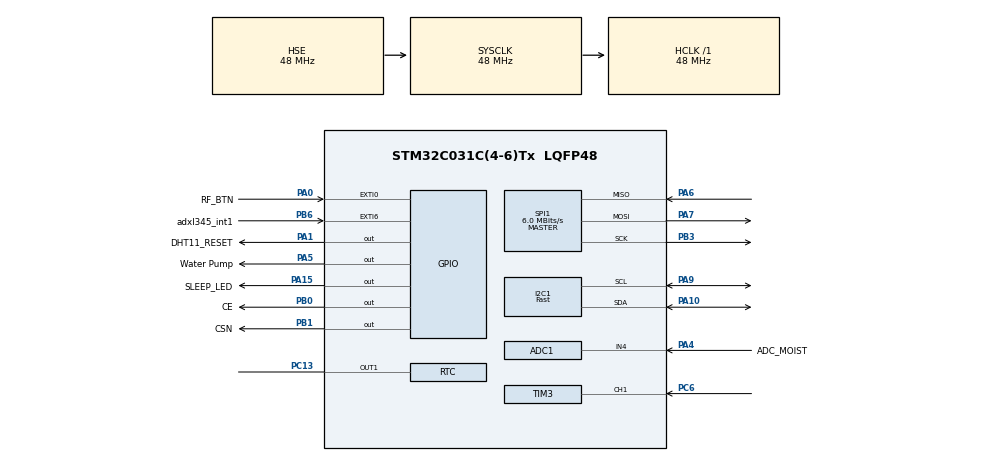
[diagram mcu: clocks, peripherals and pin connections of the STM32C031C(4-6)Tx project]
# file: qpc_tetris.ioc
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ADC1.NbrOfConversionFlag=0
ADC1.SelectedChannel=ADC_CHANNEL_4
ADC1.master=1
I2C1.I2C_Speed_Mode=I2C_Fast
I2C1.Timing=0x0090194B
Mcu.Family=STM32C0
Mcu.Name=STM32C031C(4-6)Tx
Mcu.Package=LQFP48
NVIC.EXTI0_1_IRQn=true\:0\:0\:false\:false\:false\:true\:true\:false
NVIC.EXTI4_15_IRQn=true\:0\:0\:false\:false\:false\:true\:true\:false
NVIC.RTC_IRQn=true\:0\:0\:false\:false\:false\:true\:true\:false
NVIC.SPI1_IRQn=true\:0\:0\:false\:false\:false\:true\:true\:false
PA0.GPIO_Label=RF_BTN
PA0.GPIO_ModeDefaultEXTI=GPIO_MODE_IT_FALLING
PA0.GPIO_PuPd=GPIO_NOPULL
PA0.Signal=GPXTI0
PA1.GPIO_Label=DHT11_RESET
PA1.GPIO_ModeDefaultOutputPP=GPIO_MODE_OUTPUT_PP
PA1.GPIO_PuPd=GPIO_NOPULL
PA1.Signal=GPIO_Output
PA10.Mode=I2C
PA10.Signal=I2C1_SDA
PA13.GPIO_Label=DEBUG_SWDIO
PA13.Signal=DEBUG_SWDIO
PA14-BOOT0.GPIO_Label=DEBUG_SWCLK
PA14-BOOT0.Signal=DEBUG_SWCLK
PA15.GPIO_Label=SLEEP_LED
PA15.Signal=GPIO_Output
PA2.GPIO_Label=VCP_USART2_TX
PA2.Signal=USART2_TX
PA3.GPIO_Label=VCP_USART2_RX
PA3.Signal=USART2_RX
PA4.GPIO_Label=ADC_MOIST
PA4.Mode=IN4
PA4.Signal=ADC1_IN4
PA5.GPIO_Label=Water Pump
PA5.GPIO_ModeDefaultOutputPP=GPIO_MODE_OUTPUT_PP
PA5.Signal=GPIO_Output
PA6.Mode=Full_Duplex_Master
PA6.Signal=SPI1_MISO
PA7.Mode=Full_Duplex_Master
PA7.Signal=SPI1_MOSI
PA9.Mode=I2C
PA9.Signal=I2C1_SCL
PB0.GPIO_Label=CE
PB0.GPIO_Speed=GPIO_SPEED_FREQ_HIGH
PB0.Signal=GPIO_Output
PB1.GPIO_Label=CSN
PB1.GPIO_Speed=GPIO_SPEED_FREQ_HIGH
PB1.Signal=GPIO_Output
PB3.Mode=Full_Duplex_Master
PB3.Signal=SPI1_SCK
PB6.GPIO_Label=adxl345_int1
PB6.Signal=GPXTI6
PC13.Mode=Calibration_512Hz
PC13.Signal=RTC_OUT1
PC14-OSCX_IN\ (PC14).GPIO_Label=RCC_OSCX_IN
PC14-OSCX_IN\ (PC14).Mode=LSE-External-Oscillator
PC14-OSCX_IN\ (PC14).Signal=RCC_OSCX_IN
PC15-OSCX_OUT\ (PC15).GPIO_Label=RCC_OSCX_OUT
PC15-OSCX_OUT\ (PC15).Mode=LSE-External-Oscillator
PC15-OSCX_OUT\ (PC15).Signal=RCC_OSCX_OUT
PC6.Signal=S_TIM3_CH1
PF0-OSC_IN\ (PF0).GPIO_Label=RCC_OSC_IN
PF0-OSC_IN\ (PF0).Mode=HSE-External-Oscillator
PF0-OSC_IN\ (PF0).Signal=RCC_OSC_IN
PF1-OSC_OUT\ (PF1).GPIO_Label=RCC_OSC_OUT
PF1-OSC_OUT\ (PF1).Mode=HSE-External-Oscillator
PF1-OSC_OUT\ (PF1).Signal=RCC_OSC_OUT
ProjectManager.HeapSize=0x200
ProjectManager.StackSize=0x400
ProjectManager.TargetToolchain=STM32CubeIDE
QuantumLeaps.qpc.8.1.1.qpcCcRTEFJjEventOoProcessor=qep
QuantumLeaps.qpc.8.1.1.qpcCcRTEFJjFramework=qf
QuantumLeaps.qpc.8.1.1.qpcCcRTEFJjRealAaTimeOoKernel=qk
QuantumLeaps.qpc.8.1.1.qpcCcRTEFJjSoftwareOotracing=qs
RCC.ADCFreq_Value=48000000
RCC.AHBFreq_Value=48000000
RCC.CortexFreq_Value=48000000
RCC.EXTERNAL_CLOCK_VALUE=12288000
RCC.HCLKFreq_Value=48000000
RCC.HSE_VALUE=48000000
RCC.HSISYSCLKDivider=RCC_HSI_DIV1
RCC.HSI_VALUE=48000000
RCC.SYSCLKFreq_VALUE=48000000
RCC.SYSCLKSource=RCC_SYSCLKSOURCE_HSE
RTC.Alarm-Alarm\ A=RTC_ALARM_A
SH.S_TIM3_CH1.0=TIM3_CH1,Input_Capture1_from_TI1
SH.S_TIM3_CH1.1=TIM3_CH1,TriggerSource_TI1FP1
SPI1.BaudRatePrescaler=SPI_BAUDRATEPRESCALER_8
SPI1.CalculateBaudRate=6.0 MBits/s
SPI1.Direction=SPI_DIRECTION_2LINES
SPI1.Mode=SPI_MODE_MASTER
SPI1.VirtualType=VM_MASTER
TIM17.Prescaler=47
TIM3.Channel-Input_Capture1_from_TI1=TIM_CHANNEL_1
TIM3.ICPolarity_CH1=TIM_INPUTCHANNELPOLARITY_BOTHEDGE
TIM3.Prescaler=47
VP_QuantumLeaps.qpc_VS_RTEFJjqpc_8.1.1_8.1.1.Mode=RTEFJjqpc
VP_RTC_VS_RTC_Activate.Mode=RTC_Enabled
VP_RTC_VS_RTC_Alarm_A_Intern.Mode=Alarm A
VP_RTC_VS_RTC_Calendar.Mode=RTC_Calendar
VP_TIM17_VS_ClockSourceINT.Mode=Enable_Timer
VP_TIM3_VS_ClockSourceINT.Mode=Internal
VP_TIM3_VS_ControllerModeReset.Mode=Reset Mode
board=NUCLEO-C031C6

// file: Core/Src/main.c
/* USER CODE BEGIN Header */
/**
  ******************************************************************************
  * @file           : main.c
  * @brief          : Main program body
  ******************************************************************************
  * @attention
  *
  * Copyright (c) 2025 STMicroelectronics.
  * All rights reserved.
  *
  * This software is licensed under terms that can be found in the LICENSE file
  * in the root directory of this software component.
  * If no LICENSE file comes with this software, it is provided AS-IS.
  *
  ******************************************************************************
  */
/* USER CODE END Header */
#include "main.h"

/* USER CODE BEGIN Includes */
#include "qpc.h"
#include "bsp.h"
#include "main_app.h"
#include "sensor.h"
#include "temp_sensor.h"
#include "rfbutton.h"
#include "accelerometer.h"
#include "app_config.h"
#include <stdarg.h>
/* USER CODE END Includes */

/* USER CODE BEGIN PTD */
#include <stdio.h>

// Redirect fputc used by printf
int fputc(int ch, FILE *f) {
    (void)f;
    return ch;   // or return 0; if you want *no output*
}

// Redirect __io_putchar used by HAL
int __io_putchar(int ch) {
    return ch;   // or return 0;
}
/* USER CODE END PTD */

/* USER CODE BEGIN PD */
#if !defined(Q_ALIGN)
  #if defined(__GNUC__) || defined(__clang__)
    #define Q_ALIGN __attribute__((aligned(4)))
  #elif defined(_MSC_VER)
    #define Q_ALIGN __declspec(align(4))
  #else
    #define Q_ALIGN
  #endif
#endif

#define PRINTF_BUFFER_SIZE 256

/* USER CODE END PD */

I2C_HandleTypeDef hi2c1;

void SystemClock_Config(void);
static void MX_GPIO_Init(void);
static void MX_I2C1_Init(void);
static void MX_ADC1_Init(void);
static void MX_SPI1_Init(void);
static void MX_TIM17_Init(void);
static void MX_TIM3_Init(void);
static void MX_RTC_Init(void);

/* USER CODE BEGIN 0 */
static QEvt const *menuGameQueueSto[30]; // Storage for event queue
extern MainApp MainApp_inst; // Storage for the AO instance

static QEvt const *sensorQueueSto[16]; // Storage for event queue
extern Sensor Sensor_inst; // Storage for the AO instance

static QEvt const *rfbuttonQueueSto[5]; // Storage for event queue
extern RFButton RFButton_inst; // Storage for the AO instance

// Allocate pool for SensorEvent
Q_ALIGN static QF_MPOOL_EL(SensorEvent) sensorEvtPoolSto[4];
//Q_ALIGN static QF_MPOOL_EL(DHT11Evt) dhtEvtPoolSto[4];

char printf_buffer[PRINTF_BUFFER_SIZE];
static volatile uint16_t printf_head = 0;
static volatile uint16_t printf_tail = 0;
/* USER CODE END 0 */

int main(void)
{

  /* MCU Configuration--------------------------------------------------------*/

  /* Reset of all peripherals, Initializes the Flash interface and the Systick. */
  HAL_Init();

  /* Configure the system clock */
  SystemClock_Config();

  /* Initialize all configured peripherals */
  MX_GPIO_Init();
  MX_I2C1_Init();
  MX_ADC1_Init();
  MX_SPI1_Init();
  MX_TIM17_Init();
  MX_TIM3_Init();
  MX_RTC_Init();
  /* USER CODE BEGIN 2 */
  QF_init();       // initialize the framework and the underlying RT kernel
  BSP_init();      // initialize the BSP

  /* USER CODE END 2 */

  /* Infinite loop */
  /* USER CODE BEGIN WHILE */

  QF_poolInit(sensorEvtPoolSto, sizeof(sensorEvtPoolSto), sizeof(sensorEvtPoolSto[0]));
  //QF_poolInit(dhtEvtPoolSto,sizeof(dhtEvtPoolSto),sizeof(dhtEvtPoolSto[0]));

  Main_App_ctor(&MainApp_inst);
  Sensor_ctor(&Sensor_inst);
  RFButton_ctor(&RFButton_inst);

  // 4. Start the Active Object
      QACTIVE_START(&MainApp_inst,           // AO pointer
                    1U,                     // Priority
                    menuGameQueueSto,       // Event queue storage
                    Q_DIM(menuGameQueueSto), // Queue length
                    (void *)0,              // Stack storage (0 for bare-metal)
                    0U,                     // Stack size (0 for bare-metal)
                    (void *)0);             // Initial event (optional)

      QACTIVE_START(&Sensor_inst,           // AO pointer
                          3U,                     // Priority
						  sensorQueueSto,       // Event queue storage
                          Q_DIM(sensorQueueSto), // Queue length
                          (void *)0,              // Stack storage (0 for bare-metal)
                          0U,                     // Stack size (0 for bare-metal)
                          (void *)0);             // Initial event (optional)

      QACTIVE_START(&RFButton_inst,           // AO pointer
                                2U,                     // Priority
								rfbuttonQueueSto,       // Event queue storage
                                Q_DIM(rfbuttonQueueSto), // Queue length
                                (void *)0,              // Stack storage (0 for bare-metal)
                                0U,                     // Stack size (0 for bare-metal)
                                (void *)0);             // Initial event (optional)

  //BSP_start();     // start the AOs/Threads
  return QF_run(); // run the QF application

  while (1)
  {
    /* USER CODE END WHILE */

  }
}

void SystemClock_Config(void)
{
  RCC_OscInitTypeDef RCC_OscInitStruct = {0};
  RCC_ClkInitTypeDef RCC_ClkInitStruct = {0};

  __HAL_FLASH_SET_LATENCY(FLASH_LATENCY_1);

  /** Initializes the RCC Oscillators according to the specified parameters
  * in the RCC_OscInitTypeDef structure.
  */
  RCC_OscInitStruct.OscillatorType = RCC_OSCILLATORTYPE_LSI|RCC_OSCILLATORTYPE_HSE;
  RCC_OscInitStruct.HSEState = RCC_HSE_ON;
  RCC_OscInitStruct.LSIState = RCC_LSI_ON;
  if (HAL_RCC_OscConfig(&RCC_OscInitStruct) != HAL_OK)
  {
    Error_Handler();
  }

  /** Initializes the CPU, AHB and APB buses clocks
  */
  RCC_ClkInitStruct.ClockType = RCC_CLOCKTYPE_HCLK|RCC_CLOCKTYPE_SYSCLK
                              |RCC_CLOCKTYPE_PCLK1;
  RCC_ClkInitStruct.SYSCLKSource = RCC_SYSCLKSOURCE_HSE;
  RCC_ClkInitStruct.SYSCLKDivider = RCC_SYSCLK_DIV1;
  RCC_ClkInitStruct.AHBCLKDivider = RCC_HCLK_DIV1;
  RCC_ClkInitStruct.APB1CLKDivider = RCC_APB1_DIV1;

  if (HAL_RCC_ClockConfig(&RCC_ClkInitStruct, FLASH_LATENCY_1) != HAL_OK)
  {
    Error_Handler();
  }
}

static void MX_ADC1_Init(void)
{

  LL_ADC_InitTypeDef ADC_InitStruct = {0};
  LL_ADC_REG_InitTypeDef ADC_REG_InitStruct = {0};

  LL_GPIO_InitTypeDef GPIO_InitStruct = {0};
  RCC_PeriphCLKInitTypeDef PeriphClkInit = {0};

  /** Initializes the peripherals clocks
  */
  PeriphClkInit.PeriphClockSelection = RCC_PERIPHCLK_ADC;
  PeriphClkInit.AdcClockSelection = RCC_ADCCLKSOURCE_SYSCLK;
  if (HAL_RCCEx_PeriphCLKConfig(&PeriphClkInit) != HAL_OK)
  {
    Error_Handler();
  }

  /* Peripheral clock enable */
  LL_APB2_GRP1_EnableClock(LL_APB2_GRP1_PERIPH_ADC);

  LL_IOP_GRP1_EnableClock(LL_IOP_GRP1_PERIPH_GPIOA);
  /**ADC1 GPIO Configuration
  PA4   ------> ADC1_IN4
  */
  GPIO_InitStruct.Pin = ADC_MOIST_Pin;
  GPIO_InitStruct.Mode = LL_GPIO_MODE_ANALOG;
  GPIO_InitStruct.Pull = LL_GPIO_PULL_NO;
  LL_GPIO_Init(ADC_MOIST_GPIO_Port, &GPIO_InitStruct);

  /** Configure the global features of the ADC (Clock, Resolution, Data Alignment and number of conversion)
  */

   #define ADC_CHANNEL_CONF_RDY_TIMEOUT_MS ( 1U)
   #if (USE_TIMEOUT == 1)
   uint32_t Timeout ; /* Variable used for Timeout management */
   #endif /* USE_TIMEOUT */

  ADC_InitStruct.Clock = LL_ADC_CLOCK_SYNC_PCLK_DIV2;
  ADC_InitStruct.Resolution = LL_ADC_RESOLUTION_12B;
  ADC_InitStruct.DataAlignment = LL_ADC_DATA_ALIGN_RIGHT;
  ADC_InitStruct.LowPowerMode = LL_ADC_LP_MODE_NONE;
  LL_ADC_Init(ADC1, &ADC_InitStruct);
  LL_ADC_REG_SetSequencerConfigurable(ADC1, LL_ADC_REG_SEQ_FIXED);
  ADC_REG_InitStruct.TriggerSource = LL_ADC_REG_TRIG_SOFTWARE;
  ADC_REG_InitStruct.SequencerLength = LL_ADC_REG_SEQ_SCAN_DISABLE;
  ADC_REG_InitStruct.SequencerDiscont = LL_ADC_REG_SEQ_DISCONT_DISABLE;
  ADC_REG_InitStruct.ContinuousMode = LL_ADC_REG_CONV_SINGLE;
  ADC_REG_InitStruct.DMATransfer = LL_ADC_REG_DMA_TRANSFER_NONE;
  ADC_REG_InitStruct.Overrun = LL_ADC_REG_OVR_DATA_PRESERVED;
  LL_ADC_REG_Init(ADC1, &ADC_REG_InitStruct);
  LL_ADC_REG_SetSequencerScanDirection(ADC1, LL_ADC_REG_SEQ_SCAN_DIR_FORWARD);
  LL_ADC_SetOverSamplingScope(ADC1, LL_ADC_OVS_DISABLE);
  LL_ADC_SetTriggerFrequencyMode(ADC1, LL_ADC_CLOCK_FREQ_MODE_HIGH);
  LL_ADC_REG_SetSequencerChAdd(ADC1, LL_ADC_CHANNEL_4);

   /* Poll for ADC channel configuration ready */
   #if (USE_TIMEOUT == 1)
   Timeout = ADC_CHANNEL_CONF_RDY_TIMEOUT_MS;
   #endif /* USE_TIMEOUT */
   while (LL_ADC_IsActiveFlag_CCRDY(ADC1) == 0)
     {
   #if (USE_TIMEOUT == 1)
   /* Check Systick counter flag to decrement the time-out value */
   if (LL_SYSTICK_IsActiveCounterFlag())
     {
   if(Timeout-- == 0)
         {
   Error_Handler();
         }
     }
   #endif /* USE_TIMEOUT */
     }
   /* Clear flag ADC channel configuration ready */
   LL_ADC_ClearFlag_CCRDY(ADC1);
  LL_ADC_SetSamplingTimeCommonChannels(ADC1, LL_ADC_SAMPLINGTIME_COMMON_1, LL_ADC_SAMPLINGTIME_1CYCLE_5);
  LL_ADC_DisableIT_EOC(ADC1);
  LL_ADC_DisableIT_EOS(ADC1);

   /* Enable ADC internal voltage regulator */
   LL_ADC_EnableInternalRegulator(ADC1);
   /* Delay for ADC internal voltage regulator stabilization. */
   /* Compute number of CPU cycles to wait for, from delay in us. */
   /* Note: Variable divided by 2 to compensate partially */
   /* CPU processing cycles (depends on compilation optimization). */
   /* Note: If system core clock frequency is below 200kHz, wait time */
   /* is only a few CPU processing cycles. */
   uint32_t wait_loop_index;
   wait_loop_index = ((LL_ADC_DELAY_INTERNAL_REGUL_STAB_US * (SystemCoreClock / (100000 * 2))) / 10);
   while(wait_loop_index != 0)
     {
   wait_loop_index--;
     }

}

static void MX_I2C1_Init(void)
{

  hi2c1.Instance = I2C1;
  hi2c1.Init.Timing = 0x0090194B;
  hi2c1.Init.OwnAddress1 = 0;
  hi2c1.Init.AddressingMode = I2C_ADDRESSINGMODE_7BIT;
  hi2c1.Init.DualAddressMode = I2C_DUALADDRESS_DISABLE;
  hi2c1.Init.OwnAddress2 = 0;
  hi2c1.Init.OwnAddress2Masks = I2C_OA2_NOMASK;
  hi2c1.Init.GeneralCallMode = I2C_GENERALCALL_DISABLE;
  hi2c1.Init.NoStretchMode = I2C_NOSTRETCH_DISABLE;
  if (HAL_I2C_Init(&hi2c1) != HAL_OK)
  {
    Error_Handler();
  }

  /** Configure Analogue filter
  */
  if (HAL_I2CEx_ConfigAnalogFilter(&hi2c1, I2C_ANALOGFILTER_ENABLE) != HAL_OK)
  {
    Error_Handler();
  }

  /** Configure Digital filter
  */
  if (HAL_I2CEx_ConfigDigitalFilter(&hi2c1, 0) != HAL_OK)
  {
    Error_Handler();
  }

}

static void MX_RTC_Init(void)
{

  LL_RTC_InitTypeDef RTC_InitStruct = {0};
  LL_RTC_TimeTypeDef RTC_TimeStruct = {0};
  LL_RTC_DateTypeDef RTC_DateStruct = {0};
  LL_RTC_AlarmTypeDef RTC_AlarmStruct = {0};

  RCC_PeriphCLKInitTypeDef PeriphClkInit = {0};

  /** Initializes the peripherals clocks
  */
  PeriphClkInit.PeriphClockSelection = RCC_PERIPHCLK_RTC;
  PeriphClkInit.RTCClockSelection = RCC_RTCCLKSOURCE_LSI;
  if (HAL_RCCEx_PeriphCLKConfig(&PeriphClkInit) != HAL_OK)
  {
    Error_Handler();
  }

  /* Peripheral clock enable */
  LL_RCC_EnableRTC();
  LL_APB1_GRP1_EnableClock(LL_APB1_GRP1_PERIPH_RTC);

  /* RTC interrupt Init */
  NVIC_SetPriority(RTC_IRQn, 0);

  RTC_InitStruct.HourFormat = LL_RTC_HOURFORMAT_24HOUR;
  RTC_InitStruct.AsynchPrescaler = 127;
  RTC_InitStruct.SynchPrescaler = 255;
  LL_RTC_Init(RTC, &RTC_InitStruct);
  RTC_TimeStruct.Hours = 0x0;
  RTC_TimeStruct.Minutes = 0x0;
  RTC_TimeStruct.Seconds = 0x0;

  LL_RTC_TIME_Init(RTC, LL_RTC_FORMAT_BCD, &RTC_TimeStruct);
  RTC_DateStruct.WeekDay = LL_RTC_WEEKDAY_MONDAY;
  RTC_DateStruct.Month = LL_RTC_MONTH_JANUARY;
  RTC_DateStruct.Day = 0x1;
  RTC_DateStruct.Year = 0x0;

  LL_RTC_DATE_Init(RTC, LL_RTC_FORMAT_BCD, &RTC_DateStruct);

  /** Enable the Alarm A
  */
  RTC_AlarmStruct.AlarmTime.Hours = 0x0;
  RTC_AlarmStruct.AlarmTime.Minutes = 0x0;
  RTC_AlarmStruct.AlarmTime.Seconds = 0x0;
  RTC_AlarmStruct.AlarmMask = LL_RTC_ALMA_MASK_NONE;
  RTC_AlarmStruct.AlarmDateWeekDaySel = LL_RTC_ALMA_DATEWEEKDAYSEL_DATE;
  RTC_AlarmStruct.AlarmDateWeekDay = 0x1;
  LL_RTC_ALMA_Init(RTC, LL_RTC_FORMAT_BCD, &RTC_AlarmStruct);
  LL_RTC_EnableIT_ALRA(RTC);
  LL_RTC_DisableAlarmPullUp(RTC);

  /** Enable Calibration
  */
  LL_RTC_CAL_SetOutputFreq(RTC, LL_RTC_CALIB_OUTPUT_512HZ);

}

static void MX_SPI1_Init(void)
{

  LL_SPI_InitTypeDef SPI_InitStruct = {0};

  LL_GPIO_InitTypeDef GPIO_InitStruct = {0};
  RCC_PeriphCLKInitTypeDef PeriphClkInit = {0};

  /** Initializes the peripherals clocks
  */
  PeriphClkInit.PeriphClockSelection = RCC_PERIPHCLK_I2S1;
  PeriphClkInit.I2s1ClockSelection = RCC_I2S1CLKSOURCE_SYSCLK;
  if (HAL_RCCEx_PeriphCLKConfig(&PeriphClkInit) != HAL_OK)
  {
    Error_Handler();
  }

  /* Peripheral clock enable */
  LL_APB2_GRP1_EnableClock(LL_APB2_GRP1_PERIPH_SPI1);

  LL_IOP_GRP1_EnableClock(LL_IOP_GRP1_PERIPH_GPIOA);
  LL_IOP_GRP1_EnableClock(LL_IOP_GRP1_PERIPH_GPIOB);
  /**SPI1 GPIO Configuration
  PA6   ------> SPI1_MISO
  PA7   ------> SPI1_MOSI
  PB3   ------> SPI1_SCK
  */
  GPIO_InitStruct.Pin = LL_GPIO_PIN_6;
  GPIO_InitStruct.Mode = LL_GPIO_MODE_ALTERNATE;
  GPIO_InitStruct.Speed = LL_GPIO_SPEED_FREQ_LOW;
  GPIO_InitStruct.OutputType = LL_GPIO_OUTPUT_PUSHPULL;
  GPIO_InitStruct.Pull = LL_GPIO_PULL_NO;
  GPIO_InitStruct.Alternate = LL_GPIO_AF_0;
  LL_GPIO_Init(GPIOA, &GPIO_InitStruct);

  GPIO_InitStruct.Pin = LL_GPIO_PIN_7;
  GPIO_InitStruct.Mode = LL_GPIO_MODE_ALTERNATE;
  GPIO_InitStruct.Speed = LL_GPIO_SPEED_FREQ_LOW;
  GPIO_InitStruct.OutputType = LL_GPIO_OUTPUT_PUSHPULL;
  GPIO_InitStruct.Pull = LL_GPIO_PULL_NO;
  GPIO_InitStruct.Alternate = LL_GPIO_AF_0;
  LL_GPIO_Init(GPIOA, &GPIO_InitStruct);

  GPIO_InitStruct.Pin = LL_GPIO_PIN_3;
  GPIO_InitStruct.Mode = LL_GPIO_MODE_ALTERNATE;
  GPIO_InitStruct.Speed = LL_GPIO_SPEED_FREQ_LOW;
  GPIO_InitStruct.OutputType = LL_GPIO_OUTPUT_PUSHPULL;
  GPIO_InitStruct.Pull = LL_GPIO_PULL_NO;
  GPIO_InitStruct.Alternate = LL_GPIO_AF_0;
  LL_GPIO_Init(GPIOB, &GPIO_InitStruct);

  /* SPI1 interrupt Init */
  NVIC_SetPriority(SPI1_IRQn, 0);

  /* SPI1 parameter configuration*/
  SPI_InitStruct.TransferDirection = LL_SPI_FULL_DUPLEX;
  SPI_InitStruct.Mode = LL_SPI_MODE_MASTER;
  SPI_InitStruct.DataWidth = LL_SPI_DATAWIDTH_8BIT;
  SPI_InitStruct.ClockPolarity = LL_SPI_POLARITY_LOW;
  SPI_InitStruct.ClockPhase = LL_SPI_PHASE_1EDGE;
  SPI_InitStruct.NSS = LL_SPI_NSS_SOFT;
  SPI_InitStruct.BaudRate = LL_SPI_BAUDRATEPRESCALER_DIV8;
  SPI_InitStruct.BitOrder = LL_SPI_MSB_FIRST;
  SPI_InitStruct.CRCCalculation = LL_SPI_CRCCALCULATION_DISABLE;
  SPI_InitStruct.CRCPoly = 7;
  LL_SPI_Init(SPI1, &SPI_InitStruct);
  LL_SPI_SetStandard(SPI1, LL_SPI_PROTOCOL_MOTOROLA);
  LL_SPI_EnableNSSPulseMgt(SPI1);

}

static void MX_TIM3_Init(void)
{

  LL_TIM_InitTypeDef TIM_InitStruct = {0};

  LL_GPIO_InitTypeDef GPIO_InitStruct = {0};

  /* Peripheral clock enable */
  LL_APB1_GRP1_EnableClock(LL_APB1_GRP1_PERIPH_TIM3);

  LL_IOP_GRP1_EnableClock(LL_IOP_GRP1_PERIPH_GPIOC);
  /**TIM3 GPIO Configuration
  PC6   ------> TIM3_CH1
  */
  GPIO_InitStruct.Pin = LL_GPIO_PIN_6;
  GPIO_InitStruct.Mode = LL_GPIO_MODE_ALTERNATE;
  GPIO_InitStruct.Speed = LL_GPIO_SPEED_FREQ_LOW;
  GPIO_InitStruct.OutputType = LL_GPIO_OUTPUT_PUSHPULL;
  GPIO_InitStruct.Pull = LL_GPIO_PULL_NO;
  GPIO_InitStruct.Alternate = LL_GPIO_AF_1;
  LL_GPIO_Init(GPIOC, &GPIO_InitStruct);

  TIM_InitStruct.Prescaler = 47;
  TIM_InitStruct.CounterMode = LL_TIM_COUNTERMODE_UP;
  TIM_InitStruct.Autoreload = 65535;
  TIM_InitStruct.ClockDivision = LL_TIM_CLOCKDIVISION_DIV1;
  LL_TIM_Init(TIM3, &TIM_InitStruct);
  LL_TIM_DisableARRPreload(TIM3);
  LL_TIM_SetClockSource(TIM3, LL_TIM_CLOCKSOURCE_INTERNAL);
  LL_TIM_SetTriggerInput(TIM3, LL_TIM_TS_TI1FP1);
  LL_TIM_SetSlaveMode(TIM3, LL_TIM_SLAVEMODE_RESET);
  LL_TIM_IC_SetFilter(TIM3, LL_TIM_CHANNEL_CH1, LL_TIM_IC_FILTER_FDIV1);
  LL_TIM_IC_SetPolarity(TIM3, LL_TIM_CHANNEL_CH1, LL_TIM_IC_POLARITY_BOTHEDGE);
  LL_TIM_DisableIT_TRIG(TIM3);
  LL_TIM_DisableDMAReq_TRIG(TIM3);
  LL_TIM_SetTriggerOutput(TIM3, LL_TIM_TRGO_RESET);
  LL_TIM_DisableMasterSlaveMode(TIM3);
  LL_TIM_IC_SetActiveInput(TIM3, LL_TIM_CHANNEL_CH1, LL_TIM_ACTIVEINPUT_DIRECTTI);
  LL_TIM_IC_SetPrescaler(TIM3, LL_TIM_CHANNEL_CH1, LL_TIM_ICPSC_DIV1);

}

static void MX_TIM17_Init(void)
{

  LL_TIM_InitTypeDef TIM_InitStruct = {0};

  /* Peripheral clock enable */
  LL_APB2_GRP1_EnableClock(LL_APB2_GRP1_PERIPH_TIM17);

  TIM_InitStruct.Prescaler = 47;
  TIM_InitStruct.CounterMode = LL_TIM_COUNTERMODE_UP;
  TIM_InitStruct.Autoreload = 65535;
  TIM_InitStruct.ClockDivision = LL_TIM_CLOCKDIVISION_DIV1;
  TIM_InitStruct.RepetitionCounter = 0;
  LL_TIM_Init(TIM17, &TIM_InitStruct);
  LL_TIM_DisableARRPreload(TIM17);
  /* USER CODE BEGIN TIM17_Init 2 */
  LL_TIM_GenerateEvent_UPDATE(TIM17);
  /* USER CODE END TIM17_Init 2 */

}

static void MX_GPIO_Init(void)
{
  LL_EXTI_InitTypeDef EXTI_InitStruct = {0};
  LL_GPIO_InitTypeDef GPIO_InitStruct = {0};

  /* GPIO Ports Clock Enable */
  LL_IOP_GRP1_EnableClock(LL_IOP_GRP1_PERIPH_GPIOC);
  LL_IOP_GRP1_EnableClock(LL_IOP_GRP1_PERIPH_GPIOF);
  LL_IOP_GRP1_EnableClock(LL_IOP_GRP1_PERIPH_GPIOA);
  LL_IOP_GRP1_EnableClock(LL_IOP_GRP1_PERIPH_GPIOB);

  /**/
  LL_GPIO_ResetOutputPin(DHT11_RESET_GPIO_Port, DHT11_RESET_Pin);

  /**/
  LL_GPIO_ResetOutputPin(Water_Pump_GPIO_Port, Water_Pump_Pin);

  /**/
  LL_GPIO_ResetOutputPin(CE_GPIO_Port, CE_Pin);

  /**/
  LL_GPIO_ResetOutputPin(CSN_GPIO_Port, CSN_Pin);

  /**/
  LL_GPIO_ResetOutputPin(SLEEP_LED_GPIO_Port, SLEEP_LED_Pin);

  /**/
  EXTI_InitStruct.Line_0_31 = LL_EXTI_LINE_0;
  EXTI_InitStruct.LineCommand = ENABLE;
  EXTI_InitStruct.Mode = LL_EXTI_MODE_IT;
  EXTI_InitStruct.Trigger = LL_EXTI_TRIGGER_FALLING;
  LL_EXTI_Init(&EXTI_InitStruct);

  /**/
  EXTI_InitStruct.Line_0_31 = LL_EXTI_LINE_6;
  EXTI_InitStruct.LineCommand = ENABLE;
  EXTI_InitStruct.Mode = LL_EXTI_MODE_IT;
  EXTI_InitStruct.Trigger = LL_EXTI_TRIGGER_RISING;
  LL_EXTI_Init(&EXTI_InitStruct);

  /**/
  LL_GPIO_SetPinMode(RF_BTN_GPIO_Port, RF_BTN_Pin, LL_GPIO_MODE_INPUT);

  /**/
  LL_GPIO_SetPinMode(adxl345_int1_GPIO_Port, adxl345_int1_Pin, LL_GPIO_MODE_INPUT);

  /**/
  LL_GPIO_SetPinPull(RF_BTN_GPIO_Port, RF_BTN_Pin, LL_GPIO_PULL_NO);

  /**/
  LL_GPIO_SetPinPull(adxl345_int1_GPIO_Port, adxl345_int1_Pin, LL_GPIO_PULL_NO);

  /**/
  LL_EXTI_SetEXTISource(LL_EXTI_CONFIG_PORTA, LL_EXTI_CONFIG_LINE0);

  /**/
  LL_EXTI_SetEXTISource(LL_EXTI_CONFIG_PORTB, LL_EXTI_CONFIG_LINE6);

  /**/
  GPIO_InitStruct.Pin = DHT11_RESET_Pin;
  GPIO_InitStruct.Mode = LL_GPIO_MODE_OUTPUT;
  GPIO_InitStruct.Speed = LL_GPIO_SPEED_FREQ_LOW;
  GPIO_InitStruct.OutputType = LL_GPIO_OUTPUT_PUSHPULL;
  GPIO_InitStruct.Pull = LL_GPIO_PULL_NO;
  LL_GPIO_Init(DHT11_RESET_GPIO_Port, &GPIO_InitStruct);

  /**/
  GPIO_InitStruct.Pin = VCP_USART2_TX_Pin;
  GPIO_InitStruct.Mode = LL_GPIO_MODE_ALTERNATE;
  GPIO_InitStruct.Speed = LL_GPIO_SPEED_FREQ_LOW;
  GPIO_InitStruct.OutputType = LL_GPIO_OUTPUT_PUSHPULL;
  GPIO_InitStruct.Pull = LL_GPIO_PULL_NO;
  GPIO_InitStruct.Alternate = LL_GPIO_AF_1;
  LL_GPIO_Init(VCP_USART2_TX_GPIO_Port, &GPIO_InitStruct);

  /**/
  GPIO_InitStruct.Pin = VCP_USART2_RX_Pin;
  GPIO_InitStruct.Mode = LL_GPIO_MODE_ALTERNATE;
  GPIO_InitStruct.Speed = LL_GPIO_SPEED_FREQ_LOW;
  GPIO_InitStruct.OutputType = LL_GPIO_OUTPUT_PUSHPULL;
  GPIO_InitStruct.Pull = LL_GPIO_PULL_NO;
  GPIO_InitStruct.Alternate = LL_GPIO_AF_1;
  LL_GPIO_Init(VCP_USART2_RX_GPIO_Port, &GPIO_InitStruct);

  /**/
  GPIO_InitStruct.Pin = Water_Pump_Pin;
  GPIO_InitStruct.Mode = LL_GPIO_MODE_OUTPUT;
  GPIO_InitStruct.Speed = LL_GPIO_SPEED_FREQ_LOW;
  GPIO_InitStruct.OutputType = LL_GPIO_OUTPUT_PUSHPULL;
  GPIO_InitStruct.Pull = LL_GPIO_PULL_NO;
  LL_GPIO_Init(Water_Pump_GPIO_Port, &GPIO_InitStruct);

  /**/
  GPIO_InitStruct.Pin = CE_Pin;
  GPIO_InitStruct.Mode = LL_GPIO_MODE_OUTPUT;
  GPIO_InitStruct.Speed = LL_GPIO_SPEED_FREQ_HIGH;
  GPIO_InitStruct.OutputType = LL_GPIO_OUTPUT_PUSHPULL;
  GPIO_InitStruct.Pull = LL_GPIO_PULL_NO;
  LL_GPIO_Init(CE_GPIO_Port, &GPIO_InitStruct);

  /**/
  GPIO_InitStruct.Pin = CSN_Pin;
  GPIO_InitStruct.Mode = LL_GPIO_MODE_OUTPUT;
  GPIO_InitStruct.Speed = LL_GPIO_SPEED_FREQ_HIGH;
  GPIO_InitStruct.OutputType = LL_GPIO_OUTPUT_PUSHPULL;
  GPIO_InitStruct.Pull = LL_GPIO_PULL_NO;
  LL_GPIO_Init(CSN_GPIO_Port, &GPIO_InitStruct);

  /**/
  GPIO_InitStruct.Pin = SLEEP_LED_Pin;
  GPIO_InitStruct.Mode = LL_GPIO_MODE_OUTPUT;
  GPIO_InitStruct.Speed = LL_GPIO_SPEED_FREQ_LOW;
  GPIO_InitStruct.OutputType = LL_GPIO_OUTPUT_PUSHPULL;
  GPIO_InitStruct.Pull = LL_GPIO_PULL_NO;
  LL_GPIO_Init(SLEEP_LED_GPIO_Port, &GPIO_InitStruct);

  /* EXTI interrupt init*/
  NVIC_SetPriority(EXTI0_1_IRQn, 0);
  NVIC_SetPriority(EXTI4_15_IRQn, 0);

}

void Error_Handler(void)
{
  /* USER CODE BEGIN Error_Handler_Debug */
  /* User can add his own implementation to report the HAL error return state */
  __disable_irq();
  Q_onError("HAL Error", 0U);
  while (1)
  {
  }
  /* USER CODE END Error_Handler_Debug */
}
#ifdef USE_FULL_ASSERT
/**
  * @brief  Reports the name of the source file and the source line number
  *         where the assert_param error has occurred.
  * @param  file: pointer to the source file name
  * @param  line: assert_param error line source number
  * @retval None
  */
void assert_failed(uint8_t *file, uint32_t line)
{
  /* USER CODE BEGIN 6 */
	__disable_irq();
	Q_onError(file, line);
  /* User can add his own implementation to report the file name and line number,
     ex: printf("Wrong parameters value: file %s on line %d\r\n", file, line) */
  /* USER CODE END 6 */
}
#endif /* USE_FULL_ASSERT */
